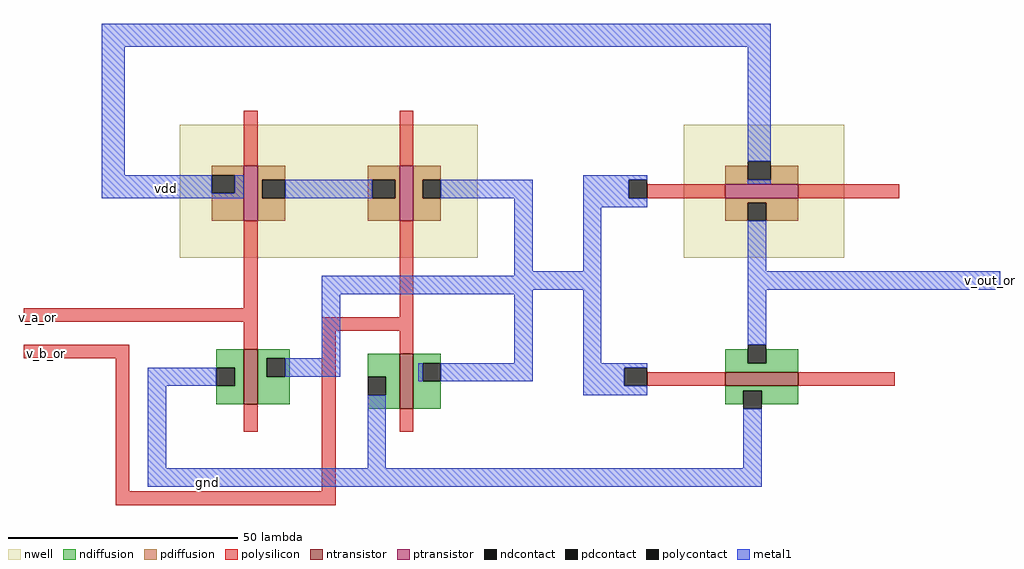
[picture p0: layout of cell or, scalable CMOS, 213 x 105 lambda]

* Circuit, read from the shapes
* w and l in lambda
.subckt or gnd v_a_or v_b_or v_out_or vdd
M1 n1 v_a_or gnd VSUBS nfet w=12 l=3
M2 n1 v_b_or gnd VSUBS nfet w=12 l=3
M3 v_out_or n1 gnd VSUBS nfet w=16 l=3
M4 n2 v_a_or vdd n3 pfet w=12 l=3
M5 n1 v_b_or n2 n3 pfet w=12 l=3
M6 vdd n1 v_out_or n4 pfet w=16 l=3
.ends

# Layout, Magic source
magic
tech scmos
<< nwell >>
rect -32 2 33 31
rect 78 2 113 31
<< polysilicon >>
rect -18 22 -15 34
rect 16 22 19 34
rect 70 15 87 18
rect 103 15 125 18
rect -18 -9 -15 10
rect -66 -12 -15 -9
rect 16 -11 19 10
rect -66 -20 -43 -17
rect -18 -18 -15 -12
rect -1 -14 19 -11
rect -46 -49 -43 -20
rect -18 -36 -15 -30
rect -1 -49 2 -14
rect 16 -19 19 -14
rect 70 -26 87 -23
rect 103 -26 124 -23
rect 16 -36 19 -31
rect -46 -52 2 -49
<< ndiffusion >>
rect -24 -22 -18 -18
rect -20 -26 -18 -22
rect -24 -30 -18 -26
rect -15 -20 -8 -18
rect -15 -24 -13 -20
rect -9 -24 -8 -20
rect -15 -30 -8 -24
rect 9 -24 16 -19
rect 13 -28 16 -24
rect 9 -31 16 -28
rect 19 -21 25 -19
rect 19 -25 21 -21
rect 87 -21 92 -18
rect 96 -21 103 -18
rect 19 -31 25 -25
rect 87 -23 103 -21
rect 87 -27 103 -26
rect 87 -30 91 -27
rect 95 -30 103 -27
<< pdiffusion >>
rect -25 20 -18 22
rect -20 16 -18 20
rect -25 10 -18 16
rect -15 19 -9 22
rect -15 15 -14 19
rect -15 10 -9 15
rect 9 19 16 22
rect 9 15 10 19
rect 15 15 16 19
rect 9 10 16 15
rect 19 19 25 22
rect 87 19 92 22
rect 97 19 103 22
rect 19 15 21 19
rect 87 18 103 19
rect 19 10 25 15
rect 87 14 103 15
rect 87 10 92 14
rect 96 10 103 14
<< metal1 >>
rect -49 48 97 53
rect -49 20 -44 48
rect 92 23 97 48
rect -49 16 -25 20
rect -20 16 -18 20
rect 56 19 70 20
rect -49 15 -18 16
rect -9 15 10 19
rect 25 15 45 19
rect 41 -1 45 15
rect 56 15 66 19
rect 92 18 97 19
rect 56 13 70 15
rect 56 -1 60 13
rect 41 -2 60 -1
rect -1 -5 60 -2
rect -1 -6 45 -5
rect -1 -20 3 -6
rect -39 -26 -24 -22
rect -9 -24 3 -20
rect 41 -21 45 -6
rect -39 -44 -35 -26
rect 20 -25 21 -21
rect 25 -25 45 -21
rect 56 -21 60 -5
rect 92 -1 96 10
rect 92 -5 147 -1
rect 92 -17 96 -5
rect 56 -22 70 -21
rect 56 -26 65 -22
rect 56 -28 70 -26
rect 9 -44 13 -28
rect 91 -44 95 -31
rect -39 -48 95 -44
<< ntransistor >>
rect -18 -30 -15 -18
rect 16 -31 19 -19
rect 87 -26 103 -23
<< ptransistor >>
rect -18 10 -15 22
rect 16 10 19 22
rect 87 15 103 18
<< polycontact >>
rect 66 15 70 19
rect 65 -26 70 -22
<< ndcontact >>
rect -24 -26 -20 -22
rect -13 -24 -9 -20
rect 9 -28 13 -24
rect 21 -25 25 -21
rect 92 -21 96 -17
rect 91 -31 95 -27
<< pdcontact >>
rect -25 16 -20 20
rect -14 15 -9 19
rect 10 15 15 19
rect 92 19 97 23
rect 21 15 25 19
rect 92 10 96 14
<< labels >>
rlabel metal1 -35 17 -35 17 3 vdd
rlabel metal1 -26 -47 -26 -47 1 gnd
rlabel polysilicon -63 -11 -63 -11 3 v_a_or
rlabel polysilicon -61 -19 -61 -19 3 v_b_or
rlabel metal1 145 -3 145 -3 7 v_out_or
<< end >>
